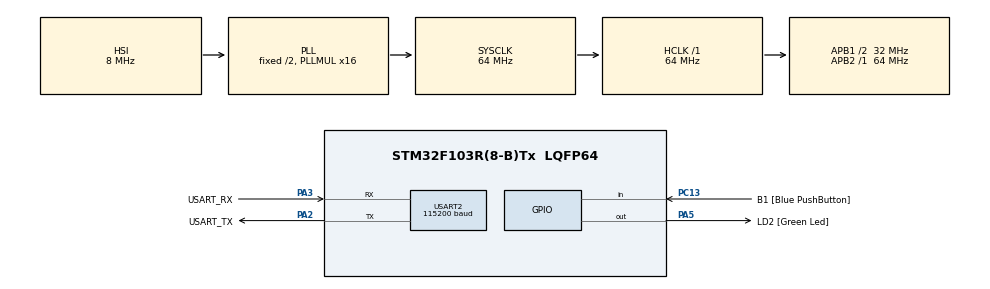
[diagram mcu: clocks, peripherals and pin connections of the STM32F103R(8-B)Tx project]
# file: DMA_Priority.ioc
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Dma.MEMTOMEM.0.Direction=DMA_MEMORY_TO_MEMORY
Dma.MEMTOMEM.0.Instance=DMA1_Channel1
Dma.MEMTOMEM.0.MemDataAlignment=DMA_MDATAALIGN_WORD
Dma.MEMTOMEM.0.MemInc=DMA_MINC_ENABLE
Dma.MEMTOMEM.0.Mode=DMA_NORMAL
Dma.MEMTOMEM.0.PeriphDataAlignment=DMA_PDATAALIGN_WORD
Dma.MEMTOMEM.0.PeriphInc=DMA_PINC_ENABLE
Dma.MEMTOMEM.0.Priority=DMA_PRIORITY_LOW
Dma.MEMTOMEM.1.Direction=DMA_MEMORY_TO_MEMORY
Dma.MEMTOMEM.1.Instance=DMA1_Channel2
Dma.MEMTOMEM.1.MemDataAlignment=DMA_MDATAALIGN_WORD
Dma.MEMTOMEM.1.MemInc=DMA_MINC_ENABLE
Dma.MEMTOMEM.1.Mode=DMA_NORMAL
Dma.MEMTOMEM.1.PeriphDataAlignment=DMA_PDATAALIGN_WORD
Dma.MEMTOMEM.1.PeriphInc=DMA_PINC_ENABLE
Dma.MEMTOMEM.1.Priority=DMA_PRIORITY_VERY_HIGH
Dma.Request0=MEMTOMEM
Dma.Request1=MEMTOMEM
Mcu.Family=STM32F1
Mcu.Name=STM32F103R(8-B)Tx
Mcu.Package=LQFP64
NVIC.DMA1_Channel1_IRQn=true\:1\:0\:false\:false\:true\:true\:true\:true
NVIC.DMA1_Channel2_IRQn=true\:1\:0\:false\:false\:true\:true\:true\:true
NVIC.PriorityGroup=NVIC_PRIORITYGROUP_4
PA13.GPIO_Label=TMS
PA13.Mode=Serial_Wire
PA13.Signal=SYS_JTMS-SWDIO
PA14.GPIO_Label=TCK
PA14.Mode=Serial_Wire
PA14.Signal=SYS_JTCK-SWCLK
PA2.GPIO_Label=USART_TX
PA2.GPIO_Mode=GPIO_MODE_AF_PP
PA2.GPIO_PuPd=GPIO_NOPULL
PA2.GPIO_Speed=GPIO_SPEED_FREQ_LOW
PA2.Mode=Asynchronous
PA2.Signal=USART2_TX
PA3.GPIO_Label=USART_RX
PA3.GPIO_PuPd=GPIO_NOPULL
PA3.GPIO_Speed=GPIO_SPEED_FREQ_LOW
PA3.Mode=Asynchronous
PA3.Signal=USART2_RX
PA5.GPIO_Label=LD2 [Green Led]
PA5.GPIO_ModeDefaultOutputPP=GPIO_MODE_OUTPUT_PP
PA5.GPIO_PuPd=GPIO_NOPULL
PA5.GPIO_Speed=GPIO_SPEED_FREQ_LOW
PA5.Signal=GPIO_Output
PB3.GPIO_Label=SWO
PB3.Signal=SYS_JTDO-TRACESWO
PC13-TAMPER-RTC.GPIO_Label=B1 [Blue PushButton]
PC13-TAMPER-RTC.GPIO_PuPd=GPIO_NOPULL
PC13-TAMPER-RTC.Signal=GPIO_Input
PC14-OSC32_IN.Mode=LSE-External-Oscillator
PC14-OSC32_IN.Signal=RCC_OSC32_IN
PC15-OSC32_OUT.Mode=LSE-External-Oscillator
PC15-OSC32_OUT.Signal=RCC_OSC32_OUT
PD0-OSC_IN.Mode=HSE-External-Clock-Source
PD0-OSC_IN.Signal=RCC_OSC_IN
PD1-OSC_OUT.Mode=HSE-External-Clock-Source
PD1-OSC_OUT.Signal=RCC_OSC_OUT
ProjectManager.HeapSize=0x200
ProjectManager.StackSize=0x400
ProjectManager.TargetToolchain=STM32CubeIDE
RCC.AHBFreq_Value=64000000
RCC.APB1CLKDivider=RCC_HCLK_DIV2
RCC.APB1Freq_Value=32000000
RCC.APB1TimFreq_Value=64000000
RCC.APB2Freq_Value=64000000
RCC.APB2TimFreq_Value=64000000
RCC.HCLKFreq_Value=64000000
RCC.PLLMUL=RCC_PLL_MUL16
RCC.RTCClockSelection=RCC_RTCCLKSOURCE_LSE
RCC.SYSCLKFreq_VALUE=64000000
RCC.SYSCLKSource=RCC_SYSCLKSOURCE_PLLCLK
RCC.USBFreq_Value=64000000
USART2.BaudRate=115200
USART2.VirtualMode=VM_ASYNC
board=NUCLEO-F103RB

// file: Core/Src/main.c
/* USER CODE BEGIN Header */
/**
 ******************************************************************************
 * @file           : main.c
 * @brief          : Main program body
 ******************************************************************************
 * @attention
 *
 * Copyright (c) 2026 STMicroelectronics.
 * All rights reserved.
 *
 * This software is licensed under terms that can be found in the LICENSE file
 * in the root directory of this software component.
 * If no LICENSE file comes with this software, it is provided AS-IS.
 *
 ******************************************************************************
 */
/**
 * 06_DMA_Priority_c  —  [계층: HAL]  DMA 채널 우선순위와 버스 중재: 두 채널이 동시에 전송할 때 누가 먼저 끝나는가
 *
 * 실험: DMA1 채널1 과 채널2 가 각각 4KB(1024워드) 메모리->메모리 복사를 "동시에" 시작한다.
 *       채널의 우선순위 설정에 따라 어느 채널이 먼저 끝나는지, 끝나는 시간이 어떻게 달라지는지 DWT 사이클로 측정한다.
 *
 * 중재 규칙 (RM0008 13.3.2 DMA 처리, "Arbiter")
 *   1) 소프트웨어 우선순위 (CCR.PL[1:0]): Very high > High > Medium > Low
 *   2) 소프트웨어 우선순위가 같으면 채널 번호가 낮은 쪽이 우선 (채널1 > 채널2 > ... > 채널7)
 *   중재는 "전송 1개(데이터 1워드) 단위"로 이루어진다. 높은 우선순위 채널이 요청을 계속 내는 동안에는 낮은 채널이 밀린다.
 *   메모리->메모리 모드는 요청이 항상 활성이라 우선순위 차이가 가장 극적으로 드러난다.
 *
 * B1(PC13)을 누를 때마다 설정이 바뀐다 (각 설정에서 시험을 3회 반복해 UART(115200)로 출력)
 *   케이스 A: 채널1 = Low,       채널2 = Very high   -> 채널2 가 먼저 끝나고, 채널1 은 그 뒤에 이어서 진행
 *   케이스 B: 채널1 = Very high, 채널2 = Low         -> 반대
 *   케이스 C: 둘 다 Medium                          -> 우선순위 같음: 낮은 번호(채널1)가 먼저
 *   출력: 각 채널의 완료 시각(시작 후 사이클 수)과 먼저 끝난 채널
 *
 * 인터럽트: 각 채널의 TC 인터럽트가 완료 시각(DWT->CYCCNT)만 기록한다.
 *   DMA1_Channel1/2_IRQHandler (stm32f1xx_it.c, 진짜 ISR) -> HAL_DMA_IRQHandler() -> done1_cb / done2_cb (이 파일)
 *   * 인터럽트 진입 지연이 측정에 약간 섞이지만 채널 간 순서와 큰 차이를 보는 데는 충분하다.
 */
/* USER CODE END Header */
#include "main.h"

/* USER CODE BEGIN Includes */
#include <stdio.h>
#include <string.h>
/* USER CODE END Includes */

/* USER CODE BEGIN PD */
#define WORDS 1024

/* USER CODE END PD */

DMA_HandleTypeDef hdma_memtomem_dma1_channel1;
DMA_HandleTypeDef hdma_memtomem_dma1_channel2;
UART_HandleTypeDef huart2;

/* USER CODE BEGIN PV */
static uint32_t src[WORDS];
static uint32_t dst1[WORDS], dst2[WORDS];
static volatile uint32_t t_start, t_done1, t_done2;
static volatile uint8_t done1, done2;
/* USER CODE END PV */

void SystemClock_Config(void);
static void MX_GPIO_Init(void);
static void MX_DMA_Init(void);
static void MX_USART2_UART_Init(void);
/* USER CODE BEGIN PFP */
static void dma_setup(uint32_t pl1, uint32_t pl2);

/* USER CODE END PFP */

/* USER CODE BEGIN 0 */
/* HAL 콜백이 아니라 HAL_DMA_RegisterCallback 으로 등록하는 DMA 전송 완료 콜백 (ISR 문맥에서 호출됨) */
static void done1_cb(DMA_HandleTypeDef *h) { (void)h; t_done1 = DWT->CYCCNT - t_start; done1 = 1; }
static void done2_cb(DMA_HandleTypeDef *h) { (void)h; t_done2 = DWT->CYCCNT - t_start; done2 = 1; }
/* USER CODE END 0 */

int main(void)
{

  /* MCU Configuration--------------------------------------------------------*/

  /* Reset of all peripherals, Initializes the Flash interface and the Systick. */
  HAL_Init();

  /* Configure the system clock */
  SystemClock_Config();

  /* Initialize all configured peripherals */
  MX_GPIO_Init();
  MX_DMA_Init();
  MX_USART2_UART_Init();
  /* USER CODE BEGIN 2 */
  CoreDebug->DEMCR |= CoreDebug_DEMCR_TRCENA_Msk;
  DWT->CYCCNT = 0;
  DWT->CTRL |= DWT_CTRL_CYCCNTENA_Msk;
  for (uint32_t i = 0; i < WORDS; i++) src[i] = 0xC0DE0000u + i;
  /* DMA1 클럭은 MX_DMA_Init 에서 이미 켜졌다 */

  static const struct { uint32_t p1, p2; const char *name; } cases[3] = {
      { DMA_PRIORITY_LOW,       DMA_PRIORITY_VERY_HIGH, "A: ch1=Low,       ch2=Very high" },
      { DMA_PRIORITY_VERY_HIGH, DMA_PRIORITY_LOW,       "B: ch1=Very high, ch2=Low      " },
      { DMA_PRIORITY_MEDIUM,    DMA_PRIORITY_MEDIUM,    "C: ch1=Medium,    ch2=Medium   " },
  };

  char msg[128];
  int c = 0;
  dma_setup(cases[c].p1, cases[c].p2);
  /* USER CODE END 2 */

  /* Infinite loop */
  while (1)
  {

    /* USER CODE BEGIN 3 */
    for (int rep = 0; rep < 3; rep++)
    {
        memset(dst1, 0, sizeof dst1); memset(dst2, 0, sizeof dst2);
        done1 = done2 = 0;

        /* 두 채널을 가능한 한 동시에 시작 (인터럽트 금지 상태에서 연달아 시작) */
        __disable_irq();
        HAL_DMA_Start_IT(&hdma_memtomem_dma1_channel1, (uint32_t)src, (uint32_t)dst1, WORDS);
        HAL_DMA_Start_IT(&hdma_memtomem_dma1_channel2, (uint32_t)src, (uint32_t)dst2, WORDS);
        t_start = DWT->CYCCNT;
        __enable_irq();

        uint32_t t0 = HAL_GetTick();
        while ((!done1 || !done2) && (HAL_GetTick() - t0) < 100) {}

        int ok = (memcmp(src, dst1, sizeof src) == 0) && (memcmp(src, dst2, sizeof src) == 0);
        int n = snprintf(msg, sizeof msg, "[%s] ch1 done @ %6lu cyc | ch2 done @ %6lu cyc | first: ch%d | copy %s\r\n",
                         cases[c].name, (unsigned long)t_done1, (unsigned long)t_done2,
                         (t_done1 <= t_done2) ? 1 : 2, ok ? "OK" : "FAIL");
        HAL_UART_Transmit(&huart2, (uint8_t *)msg, (uint16_t)n, 200);
        HAL_Delay(300);
    }
    HAL_UART_Transmit(&huart2, (uint8_t *)"--- press B1 for next case ---\r\n", 32, 100);
    while (HAL_GPIO_ReadPin(B1_GPIO_Port, B1_Pin) == GPIO_PIN_SET) {}   /* B1 대기 */
    HAL_Delay(30);
    while (HAL_GPIO_ReadPin(B1_GPIO_Port, B1_Pin) == GPIO_PIN_RESET) {}
    HAL_Delay(30);
    c = (c + 1) % 3;
    dma_setup(cases[c].p1, cases[c].p2);
  }
  /* USER CODE END 3 */
}

void SystemClock_Config(void)
{
  RCC_OscInitTypeDef RCC_OscInitStruct = {0};
  RCC_ClkInitTypeDef RCC_ClkInitStruct = {0};

  /** Initializes the RCC Oscillators according to the specified parameters
  * in the RCC_OscInitTypeDef structure.
  */
  RCC_OscInitStruct.OscillatorType = RCC_OSCILLATORTYPE_HSI;
  RCC_OscInitStruct.HSIState = RCC_HSI_ON;
  RCC_OscInitStruct.HSICalibrationValue = RCC_HSICALIBRATION_DEFAULT;
  RCC_OscInitStruct.PLL.PLLState = RCC_PLL_ON;
  RCC_OscInitStruct.PLL.PLLSource = RCC_PLLSOURCE_HSI_DIV2;
  RCC_OscInitStruct.PLL.PLLMUL = RCC_PLL_MUL16;
  if (HAL_RCC_OscConfig(&RCC_OscInitStruct) != HAL_OK)
  {
    Error_Handler();
  }

  /** Initializes the CPU, AHB and APB buses clocks
  */
  RCC_ClkInitStruct.ClockType = RCC_CLOCKTYPE_HCLK|RCC_CLOCKTYPE_SYSCLK
                              |RCC_CLOCKTYPE_PCLK1|RCC_CLOCKTYPE_PCLK2;
  RCC_ClkInitStruct.SYSCLKSource = RCC_SYSCLKSOURCE_PLLCLK;
  RCC_ClkInitStruct.AHBCLKDivider = RCC_SYSCLK_DIV1;
  RCC_ClkInitStruct.APB1CLKDivider = RCC_HCLK_DIV2;
  RCC_ClkInitStruct.APB2CLKDivider = RCC_HCLK_DIV1;

  if (HAL_RCC_ClockConfig(&RCC_ClkInitStruct, FLASH_LATENCY_2) != HAL_OK)
  {
    Error_Handler();
  }
}

static void MX_USART2_UART_Init(void)
{

  huart2.Instance = USART2;
  huart2.Init.BaudRate = 115200;
  huart2.Init.WordLength = UART_WORDLENGTH_8B;
  huart2.Init.StopBits = UART_STOPBITS_1;
  huart2.Init.Parity = UART_PARITY_NONE;
  huart2.Init.Mode = UART_MODE_TX_RX;
  huart2.Init.HwFlowCtl = UART_HWCONTROL_NONE;
  huart2.Init.OverSampling = UART_OVERSAMPLING_16;
  if (HAL_UART_Init(&huart2) != HAL_OK)
  {
    Error_Handler();
  }

}

static void MX_DMA_Init(void)
{

  /* DMA controller clock enable */
  __HAL_RCC_DMA1_CLK_ENABLE();

  /* Configure DMA request hdma_memtomem_dma1_channel1 on DMA1_Channel1 */
  hdma_memtomem_dma1_channel1.Instance = DMA1_Channel1;
  hdma_memtomem_dma1_channel1.Init.Direction = DMA_MEMORY_TO_MEMORY;
  hdma_memtomem_dma1_channel1.Init.PeriphInc = DMA_PINC_ENABLE;
  hdma_memtomem_dma1_channel1.Init.MemInc = DMA_MINC_ENABLE;
  hdma_memtomem_dma1_channel1.Init.PeriphDataAlignment = DMA_PDATAALIGN_WORD;
  hdma_memtomem_dma1_channel1.Init.MemDataAlignment = DMA_MDATAALIGN_WORD;
  hdma_memtomem_dma1_channel1.Init.Mode = DMA_NORMAL;
  hdma_memtomem_dma1_channel1.Init.Priority = DMA_PRIORITY_LOW;
  if (HAL_DMA_Init(&hdma_memtomem_dma1_channel1) != HAL_OK)
  {
    Error_Handler( );
  }

  /* Configure DMA request hdma_memtomem_dma1_channel2 on DMA1_Channel2 */
  hdma_memtomem_dma1_channel2.Instance = DMA1_Channel2;
  hdma_memtomem_dma1_channel2.Init.Direction = DMA_MEMORY_TO_MEMORY;
  hdma_memtomem_dma1_channel2.Init.PeriphInc = DMA_PINC_ENABLE;
  hdma_memtomem_dma1_channel2.Init.MemInc = DMA_MINC_ENABLE;
  hdma_memtomem_dma1_channel2.Init.PeriphDataAlignment = DMA_PDATAALIGN_WORD;
  hdma_memtomem_dma1_channel2.Init.MemDataAlignment = DMA_MDATAALIGN_WORD;
  hdma_memtomem_dma1_channel2.Init.Mode = DMA_NORMAL;
  hdma_memtomem_dma1_channel2.Init.Priority = DMA_PRIORITY_VERY_HIGH;
  if (HAL_DMA_Init(&hdma_memtomem_dma1_channel2) != HAL_OK)
  {
    Error_Handler( );
  }

  /* DMA interrupt init */
  /* DMA1_Channel1_IRQn interrupt configuration */
  HAL_NVIC_SetPriority(DMA1_Channel1_IRQn, 1, 0);
  HAL_NVIC_EnableIRQ(DMA1_Channel1_IRQn);

  /* DMA1_Channel2_IRQn interrupt configuration */
  HAL_NVIC_SetPriority(DMA1_Channel2_IRQn, 1, 0);
  HAL_NVIC_EnableIRQ(DMA1_Channel2_IRQn);

}

static void MX_GPIO_Init(void)
{
  GPIO_InitTypeDef GPIO_InitStruct = {0};

  /* GPIO Ports Clock Enable */
  __HAL_RCC_GPIOC_CLK_ENABLE();
  __HAL_RCC_GPIOD_CLK_ENABLE();
  __HAL_RCC_GPIOA_CLK_ENABLE();
  __HAL_RCC_GPIOB_CLK_ENABLE();

  /*Configure GPIO pin Output Level */
  HAL_GPIO_WritePin(LD2_GPIO_Port, LD2_Pin, GPIO_PIN_RESET);

  /*Configure GPIO pin : B1_Pin */
  GPIO_InitStruct.Pin = B1_Pin;
  GPIO_InitStruct.Mode = GPIO_MODE_INPUT;
  GPIO_InitStruct.Pull = GPIO_NOPULL;
  HAL_GPIO_Init(B1_GPIO_Port, &GPIO_InitStruct);

  /*Configure GPIO pin : LD2_Pin */
  GPIO_InitStruct.Pin = LD2_Pin;
  GPIO_InitStruct.Mode = GPIO_MODE_OUTPUT_PP;
  GPIO_InitStruct.Pull = GPIO_NOPULL;
  GPIO_InitStruct.Speed = GPIO_SPEED_FREQ_LOW;
  HAL_GPIO_Init(LD2_GPIO_Port, &GPIO_InitStruct);

}

/* USER CODE BEGIN 4 */
/* 두 채널을 메모리->메모리로 다시 설정 (우선순위만 바꿔서) */
static void dma_setup(uint32_t pl1, uint32_t pl2)
{
    DMA_HandleTypeDef *h[2] = { &hdma_memtomem_dma1_channel1, &hdma_memtomem_dma1_channel2 };
    DMA_Channel_TypeDef *ch[2] = { DMA1_Channel1, DMA1_Channel2 };
    uint32_t pl[2] = { pl1, pl2 };
    for (int i = 0; i < 2; i++)
    {
        h[i]->Instance = ch[i];
        HAL_DMA_DeInit(h[i]);
        h[i]->Init.Direction = DMA_MEMORY_TO_MEMORY;             /* CCR.MEM2MEM = 1 */
        h[i]->Init.PeriphInc = DMA_PINC_ENABLE;
        h[i]->Init.MemInc = DMA_MINC_ENABLE;
        h[i]->Init.PeriphDataAlignment = DMA_PDATAALIGN_WORD;
        h[i]->Init.MemDataAlignment = DMA_MDATAALIGN_WORD;
        h[i]->Init.Mode = DMA_NORMAL;
        h[i]->Init.Priority = pl[i];                             /* CCR.PL[1:0] */
        if (HAL_DMA_Init(h[i]) != HAL_OK) Error_Handler();
    }
    HAL_DMA_RegisterCallback(&hdma_memtomem_dma1_channel1, HAL_DMA_XFER_CPLT_CB_ID, done1_cb);
    HAL_DMA_RegisterCallback(&hdma_memtomem_dma1_channel2, HAL_DMA_XFER_CPLT_CB_ID, done2_cb);
    /* NVIC(DMA1_Channel1/2_IRQn, 우선순위 1) 는 MX_DMA_Init 에서 이미 설정/활성화됨 */
}
/* USER CODE END 4 */

void Error_Handler(void)
{
  __disable_irq();
  while (1) {
  }
}
#ifdef USE_FULL_ASSERT
/**
  * @brief  Reports the name of the source file and the source line number
  *         where the assert_param error has occurred.
  * @param  file: pointer to the source file name
  * @param  line: assert_param error line source number
  * @retval None
  */
void assert_failed(uint8_t *file, uint32_t line)
{
  /* USER CODE BEGIN 6 */
  /* User can add his own implementation to report the file name and line
     number, ex: printf("Wrong parameters value: file %s on line %d\r\n", file,
     line) */
  /* USER CODE END 6 */
}
#endif /* USE_FULL_ASSERT */
